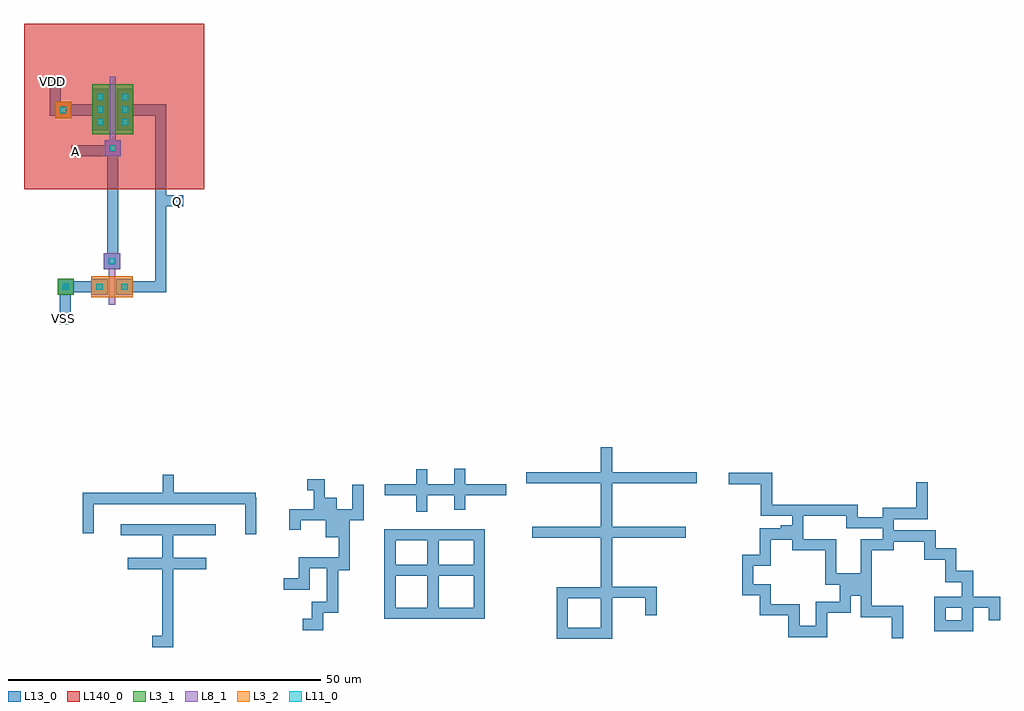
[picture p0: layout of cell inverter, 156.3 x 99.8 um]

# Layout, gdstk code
import gdstk
lib = gdstk.Library(unit=1e-6, precision=1e-07)
def R(c, l, rs):  # rectangles x0, y0, x1, y1
    for r in rs: c.add(gdstk.rectangle(r[:2], r[2:], *l))
def A(c, l, x, y, w, h, nx, ny, dx, dy):  # array of equal rectangles
    R(c, l, [(x+i*dx, y+j*dy, x+i*dx+w, y+j*dy+h) for i in range(nx) for j in range(ny)])
L3_1 = (3, 1)
L3_2 = (3, 2)
L8_1 = (8, 1)
L11_0 = (11, 0)
L13_0 = (13, 0)
L140_0 = (140, 0)

cont_n = lib.new_cell('cont_n')
R(cont_n, L3_2, [(-1.3,-1.3,1.3,1.3)])
R(cont_n, L11_0, [(-0.5,-0.5,0.5,0.5)])
R(cont_n, L13_0, [(-1.3,-1.3,1.3,1.3)])

cont_g = lib.new_cell('cont_g')
R(cont_g, L8_1, [(-1.3,-1.3,1.3,1.3)])
R(cont_g, L11_0, [(-0.5,-0.5,0.5,0.5)])
R(cont_g, L13_0, [(-1.3,-1.3,1.3,1.3)])

fet_n = lib.new_cell('fet_n')
R(fet_n, L3_2, [(-3.3,-1.7,3.3,1.7)])
R(fet_n, L11_0, [(-2.5,-0.5,-1.5,0.5), (1.5,-0.5,2.5,0.5)])
R(fet_n, L13_0, [(-3.3,-1.3,-0.7,1.3), (0.7,-1.3,3.3,1.3)])
fet_n.add(gdstk.FlexPath([(0,-2.9),(0,2.9)], 1, ends="flush", simple_path=True, layer=8, datatype=1))  # L8_1

cont_p = lib.new_cell('cont_p')
R(cont_p, L3_1, [(-1.3,-1.3,1.3,1.3)])
R(cont_p, L11_0, [(-0.5,-0.5,0.5,0.5)])
R(cont_p, L13_0, [(-1.3,-1.3,1.3,1.3)])

fet_p = lib.new_cell('fet_p')
R(fet_p, L3_1, [(-3.3,-4,3.3,4)])
A(fet_p, L11_0, -2.5, -2.5, 1, 1, 1, 3, 0, 2)
A(fet_p, L11_0, 1.5, -2.5, 1, 1, 1, 3, 0, 2)
R(fet_p, L13_0, [(-3.3,-3.3,-0.7,3.3), (0.7,-3.3,3.3,3.3)])
fet_p.add(gdstk.FlexPath([(0,-5.2),(0,5.2)], 1, ends="flush", simple_path=True, layer=8, datatype=1))  # L8_1

inverter = lib.new_cell('inverter')
R(inverter, L140_0, [(-16.9,-16.5,12,10)])
inverter.add(gdstk.FlexPath([(76.4,-57.8),(76.4,-87.6),(69.3,-87.6),(69.3,-81.1),(75.5,-81.1)], 1.8, ends="flush", simple_path=True, layer=13, datatype=0))  # L13_0
inverter.add(gdstk.FlexPath([(77.3,-81),(83.5,-81),(83.5,-84.7)], 1.8, ends="flush", simple_path=True, layer=13, datatype=0))  # L13_0
inverter.add(gdstk.FlexPath([(96,-62.8),(102,-62.8),(102,-67.9),(107,-67.9),(107,-73.4),(112.3,-73.4),(112.3,-78.9),(118,-78.9),(118,-84.1),(123,-84.1),(123,-88.4)], 1.8, ends="flush", simple_path=True, layer=13, datatype=0))  # L13_0
inverter.add(gdstk.FlexPath([(126.9,-63.4),(126.9,-68.4),(121.5,-68.4),(121.5,-73.4),(118,-73.4),(118,-77.1),(117.1,-77.1)], 1.8, ends="flush", simple_path=True, layer=13, datatype=0))  # L13_0
inverter.add(gdstk.FlexPath([(117.1,-80.7),(114.6,-80.7),(114.6,-83.4),(110.8,-83.4),(110.8,-87.3),(106.4,-87.3),(106.4,-83.8),(101.8,-83.8),(101.8,-80.6),(99,-80.6),(99,-75.9),(101.8,-75.9),(101.8,-71.7),(105.2,-71.7),(105.2,-70.3)], 1.8, ends="flush", simple_path=True, layer=13, datatype=0))  # L13_0
inverter.add(gdstk.FlexPath([(107.9,-67.9),(115.7,-67.9),(115.7,-69.9),(120.6,-69.9)], 1.8, ends="flush", simple_path=True, layer=13, datatype=0))  # L13_0
inverter.add(gdstk.FlexPath([(122.4,-72),(128.2,-72),(128.2,-74.9),(131.5,-74.9),(131.5,-78.5),(134.2,-78.5),(134.2,-86.4),(129.8,-86.4),(129.8,-82.6),(133.3,-82.6)], 1.8, ends="flush", simple_path=True, layer=13, datatype=0))  # L13_0
inverter.add(gdstk.FlexPath([(135.1,-82.6),(138.5,-82.6),(138.5,-85.5)], 1.8, ends="flush", simple_path=True, layer=13, datatype=0))  # L13_0
inverter.add(gdstk.FlexPath([(6.2,-62.2),(6.2,-66),(-6.6,-66),(-6.6,-71.6)], 1.8, ends="flush", simple_path=True, layer=13, datatype=0))  # L13_0
inverter.add(gdstk.FlexPath([(6.6,-66),(20.2,-66),(20.2,-66)], 1.8, ends="flush", simple_path=True, layer=13, datatype=0))  # L13_0
inverter.add(gdstk.FlexPath([(19.4,-65.9),(19.4,-71.7)], 1.8, ends="flush", simple_path=True, layer=13, datatype=0))  # L13_0
inverter.add(gdstk.FlexPath([(-1.4,-71),(13.8,-71)], 1.8, ends="flush", simple_path=True, layer=13, datatype=0))  # L13_0
inverter.add(gdstk.FlexPath([(-0.3,-76.4),(12.3,-76.4)], 1.8, ends="flush", simple_path=True, layer=13, datatype=0))  # L13_0
inverter.add(gdstk.FlexPath([(36.6,-63.8),(36.6,-68.6),(26.5,-68.6),(26.5,-71)], 1.8, ends="flush", simple_path=True, layer=13, datatype=0))  # L13_0
inverter.add(gdstk.FlexPath([(28.5,-63.8),(30.4,-63.8),(30.4,-66.8),(32.3,-66.8),(32.3,-71.3),(34.4,-71.3),(34.4,-76.6),(32.5,-76.6),(32.5,-83.4),(30.1,-83.4),(30.1,-86.2),(27.7,-86.2),(27.7,-86.2)], 1.8, ends="flush", simple_path=True, layer=13, datatype=0))  # L13_0
inverter.add(gdstk.FlexPath([(33.7,-76.3),(28,-76.3),(28,-79.7),(25.6,-79.7),(25.6,-80.6)], 1.8, ends="flush", simple_path=True, layer=13, datatype=0))  # L13_0
inverter.add(gdstk.FlexPath([(40.9,-64.6),(60.3,-64.6)], 1.8, ends="flush", simple_path=True, layer=13, datatype=0))  # L13_0
inverter.add(gdstk.FlexPath([(46.8,-68.1),(46.8,-61.3)], 1.8, ends="flush", simple_path=True, layer=13, datatype=0))  # L13_0
inverter.add(gdstk.FlexPath([(52.9,-61.2),(52.9,-67.8)], 1.8, ends="flush", simple_path=True, layer=13, datatype=0))  # L13_0
inverter.add(gdstk.FlexPath([(48.6,-71.2),(48.6,-84.5)], 1.8, ends="flush", simple_path=True, layer=13, datatype=0))  # L13_0
inverter.add(gdstk.FlexPath([(41.4,-77.5),(56.6,-77.5)], 1.8, ends="flush", simple_path=True, layer=13, datatype=0))  # L13_0
inverter.add(gdstk.FlexPath([(63.5,-62.7),(89.9,-62.7),(89.9,-63.2)], 1.8, ends="flush", simple_path=True, layer=13, datatype=0))  # L13_0
inverter.add(gdstk.FlexPath([(64.5,-71.4),(89.1,-71.4)], 1.8, ends="flush", simple_path=True, layer=13, datatype=0))  # L13_0
inverter.add(gdstk.FlexPath([(49.9,-71.8),(56,-71.8),(56,-84.4),(41.7,-84.4),(41.7,-71.8),(49.9,-71.8)], 1.8, ends="flush", simple_path=True, layer=13, datatype=0))  # L13_0
inverter.add(gdstk.FlexPath([(6.1,-70.9),(6.1,-88.9),(3.6,-88.9)], 1.8, ends="flush", simple_path=True, layer=13, datatype=0))  # L13_0
inverter.add(gdstk.FlexPath([(34.4,-68.3),(34.4,-70.7)], 1.8, ends="flush", simple_path=True, layer=13, datatype=0))  # L13_0
inverter.add(gdstk.FlexPath([(33.3,-68.1),(33.3,-71)], 1.8, ends="flush", simple_path=True, layer=13, datatype=0))  # L13_0
inverter.add(gdstk.FlexPath([(87.1,-62.7),(90.8,-62.7)], 1.8, ends="flush", simple_path=True, layer=13, datatype=0))  # L13_0
inverter.add(gdstk.FlexPath([(-5,-32.1),(-10.1,-32.1)], 1.8, ends="flush", simple_path=True, layer=13, datatype=0))  # L13_0
inverter.add(gdstk.FlexPath([(-10.3,-33.3),(-10.3,-37.2),(-10.3,-37.2),(-10.3,-38.1)], 1.8, ends="flush", simple_path=True, layer=13, datatype=0))  # L13_0
inverter.add(gdstk.FlexPath([(-2.7,-10.9),(-2.7,-27.1)], 1.8, ends="flush", simple_path=True, layer=13, datatype=0))  # L13_0
inverter.add(gdstk.FlexPath([(0.3,-3.8),(5,-3.8),(5,-32.1),(0.3,-32.1)], 1.8, ends="flush", simple_path=True, layer=13, datatype=0))  # L13_0
inverter.add(gdstk.FlexPath([(5,-18.3),(8.6,-18.3)], 1.8, ends="flush", simple_path=True, layer=13, datatype=0))  # L13_0
inverter.add(gdstk.FlexPath([(-4.7,-3.8),(-11.9,-3.8),(-11.9,1.4)], 1.8, ends="flush", simple_path=True, layer=13, datatype=0))  # L13_0
inverter.add(gdstk.FlexPath([(-2.7,-10.3),(-9.3,-10.3)], 1.8, ends="flush", simple_path=True, layer=13, datatype=0))  # L13_0
inverter.add(gdstk.Reference(cont_n, (-10.6,-3.8)))
inverter.add(gdstk.Reference(cont_g, (-2.7,-9.9)))
inverter.add(gdstk.Reference(fet_n, (-2.8,-32.1)))
inverter.add(gdstk.Reference(cont_p, (-10.2,-32.1)))
inverter.add(gdstk.Reference(cont_g, (-2.8,-28)))
inverter.add(gdstk.Reference(fet_p, (-2.7,-3.7)))
inverter.add(gdstk.Label('VDD', (-12.3,0.7), layer=13, texttype=0))
inverter.add(gdstk.Label('VSS', (-10.5,-37.2), layer=13, texttype=0))
inverter.add(gdstk.Label('A', (-8.7,-10.4), layer=13, texttype=0))
inverter.add(gdstk.Label('Q', (7.7,-18.4), layer=13, texttype=0))

lib.write_gds('inverter.gds')
